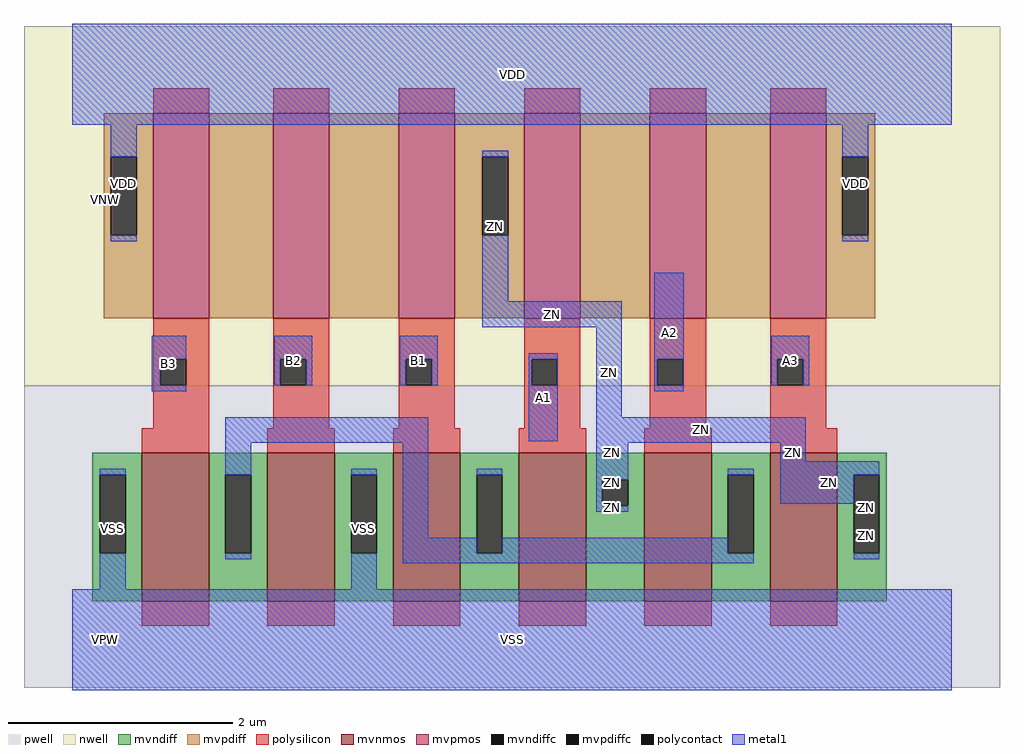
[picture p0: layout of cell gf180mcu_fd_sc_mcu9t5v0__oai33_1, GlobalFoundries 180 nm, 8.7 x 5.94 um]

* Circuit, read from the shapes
.subckt gf180mcu_fd_sc_mcu9t5v0__oai33_1 A1 A2 A3 B1 B2 B3 ZN VDD VNW VPW VSS
XM1 n1 B3 VSS VPW nfet_06v0 w=1.32u l=0.6u
XM2 VSS B2 n1 VPW nfet_06v0 w=1.32u l=0.6u
XM3 n1 B1 VSS VPW nfet_06v0 w=1.32u l=0.6u
XM4 ZN A1 n1 VPW nfet_06v0 w=1.32u l=0.6u
XM5 n1 A2 ZN VPW nfet_06v0 w=1.32u l=0.6u
XM6 ZN A3 n1 VPW nfet_06v0 w=1.32u l=0.6u
XM7 n2 B3 VDD VNW pfet_06v0 w=1.83u l=0.5u
XM8 n3 B2 n2 VNW pfet_06v0 w=1.83u l=0.5u
XM9 ZN B1 n3 VNW pfet_06v0 w=1.83u l=0.5u
XM10 n4 A1 ZN VNW pfet_06v0 w=1.83u l=0.5u
XM11 n5 A2 n4 VNW pfet_06v0 w=1.83u l=0.5u
XM12 VDD A3 n5 VNW pfet_06v0 w=1.83u l=0.5u
.ends

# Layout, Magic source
magic
tech gf180mcuD
magscale 1 10
<< nwell >>
rect -86 453 1654 1094
<< pwell >>
rect -86 -86 1654 453
<< mvnmos >>
rect 124 69 244 333
rect 348 69 468 333
rect 572 69 692 333
rect 796 69 916 333
rect 1020 69 1140 333
rect 1244 69 1364 333
<< mvpmos >>
rect 144 573 244 939
rect 358 573 458 939
rect 582 573 682 939
rect 806 573 906 939
rect 1030 573 1130 939
rect 1244 573 1344 939
<< mvndiff >>
rect 36 294 124 333
rect 36 154 49 294
rect 95 154 124 294
rect 36 69 124 154
rect 244 294 348 333
rect 244 154 273 294
rect 319 154 348 294
rect 244 69 348 154
rect 468 294 572 333
rect 468 154 497 294
rect 543 154 572 294
rect 468 69 572 154
rect 692 294 796 333
rect 692 154 721 294
rect 767 154 796 294
rect 692 69 796 154
rect 916 285 1020 333
rect 916 239 945 285
rect 991 239 1020 285
rect 916 69 1020 239
rect 1140 294 1244 333
rect 1140 154 1169 294
rect 1215 154 1244 294
rect 1140 69 1244 154
rect 1364 294 1452 333
rect 1364 154 1393 294
rect 1439 154 1452 294
rect 1364 69 1452 154
<< mvpdiff >>
rect 56 861 144 939
rect 56 721 69 861
rect 115 721 144 861
rect 56 573 144 721
rect 244 573 358 939
rect 458 573 582 939
rect 682 861 806 939
rect 682 721 731 861
rect 777 721 806 861
rect 682 573 806 721
rect 906 573 1030 939
rect 1130 573 1244 939
rect 1344 861 1432 939
rect 1344 721 1373 861
rect 1419 721 1432 861
rect 1344 573 1432 721
<< mvndiffc >>
rect 49 154 95 294
rect 273 154 319 294
rect 497 154 543 294
rect 721 154 767 294
rect 945 239 991 285
rect 1169 154 1215 294
rect 1393 154 1439 294
<< mvpdiffc >>
rect 69 721 115 861
rect 731 721 777 861
rect 1373 721 1419 861
<< polysilicon >>
rect 144 939 244 983
rect 358 939 458 983
rect 582 939 682 983
rect 806 939 906 983
rect 1030 939 1130 983
rect 1244 939 1344 983
rect 144 500 244 573
rect 144 454 157 500
rect 203 454 244 500
rect 144 377 244 454
rect 358 500 458 573
rect 358 454 371 500
rect 417 454 458 500
rect 358 377 458 454
rect 582 500 682 573
rect 582 454 595 500
rect 641 454 682 500
rect 582 377 682 454
rect 806 500 906 573
rect 806 454 819 500
rect 865 454 906 500
rect 806 377 906 454
rect 1030 500 1130 573
rect 1030 454 1043 500
rect 1089 454 1130 500
rect 1030 377 1130 454
rect 1244 500 1344 573
rect 1244 454 1257 500
rect 1303 454 1344 500
rect 1244 377 1344 454
rect 124 333 244 377
rect 348 333 468 377
rect 572 333 692 377
rect 796 333 916 377
rect 1020 333 1140 377
rect 1244 333 1364 377
rect 124 25 244 69
rect 348 25 468 69
rect 572 25 692 69
rect 796 25 916 69
rect 1020 25 1140 69
rect 1244 25 1364 69
<< polycontact >>
rect 157 454 203 500
rect 371 454 417 500
rect 595 454 641 500
rect 819 454 865 500
rect 1043 454 1089 500
rect 1257 454 1303 500
<< metal1 >>
rect 0 918 1568 1098
rect 69 861 115 918
rect 69 710 115 721
rect 731 861 777 872
rect 731 603 777 721
rect 1373 861 1419 918
rect 1373 710 1419 721
rect 731 557 980 603
rect 142 500 203 542
rect 142 454 157 500
rect 360 500 428 542
rect 360 454 371 500
rect 417 454 428 500
rect 584 500 652 542
rect 584 454 595 500
rect 641 454 652 500
rect 814 500 866 511
rect 814 454 819 500
rect 865 454 866 500
rect 142 443 203 454
rect 273 351 635 397
rect 814 354 866 454
rect 934 397 980 557
rect 1038 500 1090 654
rect 1038 454 1043 500
rect 1089 454 1090 500
rect 1246 500 1314 542
rect 1246 454 1257 500
rect 1303 454 1314 500
rect 1038 443 1090 454
rect 49 294 95 305
rect 49 90 95 154
rect 273 294 319 351
rect 273 143 319 154
rect 497 294 543 305
rect 497 90 543 154
rect 589 182 635 351
rect 934 351 1308 397
rect 721 294 767 305
rect 589 154 721 182
rect 934 285 991 351
rect 1262 318 1308 351
rect 934 239 945 285
rect 934 228 991 239
rect 1169 294 1215 305
rect 767 154 1169 182
rect 1262 294 1439 318
rect 1262 242 1393 294
rect 589 136 1215 154
rect 1393 143 1439 154
rect 0 -90 1568 90
<< labels >>
flabel metal1 s 814 354 866 511 0 FreeSans 200 0 0 0 A1
port 1 nsew default input
flabel metal1 s 1038 443 1090 654 0 FreeSans 200 0 0 0 A2
port 2 nsew default input
flabel metal1 s 1246 454 1314 542 0 FreeSans 200 0 0 0 A3
port 3 nsew default input
flabel metal1 s 584 454 652 542 0 FreeSans 200 0 0 0 B1
port 4 nsew default input
flabel metal1 s 360 454 428 542 0 FreeSans 200 0 0 0 B2
port 5 nsew default input
flabel metal1 s 142 443 203 542 0 FreeSans 200 0 0 0 B3
port 6 nsew default input
flabel metal1 s 0 918 1568 1098 0 FreeSans 200 0 0 0 VDD
port 8 nsew power bidirectional abutment
flabel metal1 s 497 90 543 305 0 FreeSans 200 0 0 0 VSS
port 11 nsew ground bidirectional abutment
flabel metal1 s 731 603 777 872 0 FreeSans 200 0 0 0 ZN
port 7 nsew default output
flabel nwell s 10 734 110 834 0 FreeSans 400 0 0 0 VNW
port 9 nsew power bidirectional
flabel pwell s 10 -50 110 50 0 FreeSans 400 0 0 0 VPW
port 10 nsew ground bidirectional
rlabel metal1 s 731 557 980 603 1 ZN
port 7 nsew default output
rlabel metal1 s 934 397 980 557 1 ZN
port 7 nsew default output
rlabel metal1 s 934 351 1308 397 1 ZN
port 7 nsew default output
rlabel metal1 s 1262 318 1308 351 1 ZN
port 7 nsew default output
rlabel metal1 s 934 318 991 351 1 ZN
port 7 nsew default output
rlabel metal1 s 1262 242 1439 318 1 ZN
port 7 nsew default output
rlabel metal1 s 934 242 991 318 1 ZN
port 7 nsew default output
rlabel metal1 s 1393 228 1439 242 1 ZN
port 7 nsew default output
rlabel metal1 s 934 228 991 242 1 ZN
port 7 nsew default output
rlabel metal1 s 1393 143 1439 228 1 ZN
port 7 nsew default output
rlabel metal1 s 1373 710 1419 918 1 VDD
port 8 nsew power bidirectional abutment
rlabel metal1 s 69 710 115 918 1 VDD
port 8 nsew power bidirectional abutment
rlabel metal1 s 49 90 95 305 1 VSS
port 11 nsew ground bidirectional abutment
rlabel metal1 s 0 -90 1568 90 1 VSS
port 11 nsew ground bidirectional abutment
<< properties >>
string FIXED_BBOX 0 0 1568 1008
string GDS_END 186680
string GDS_FILE $PDKPATH/libs.ref/gf180mcu_fd_sc_mcu9t5v0/gds/gf180mcu_fd_sc_mcu9t5v0.gds
string GDS_START 181964
string LEFclass core
string LEFsite GF018hv5v_green_sc9
string LEFsymmetry X Y
<< end >>
